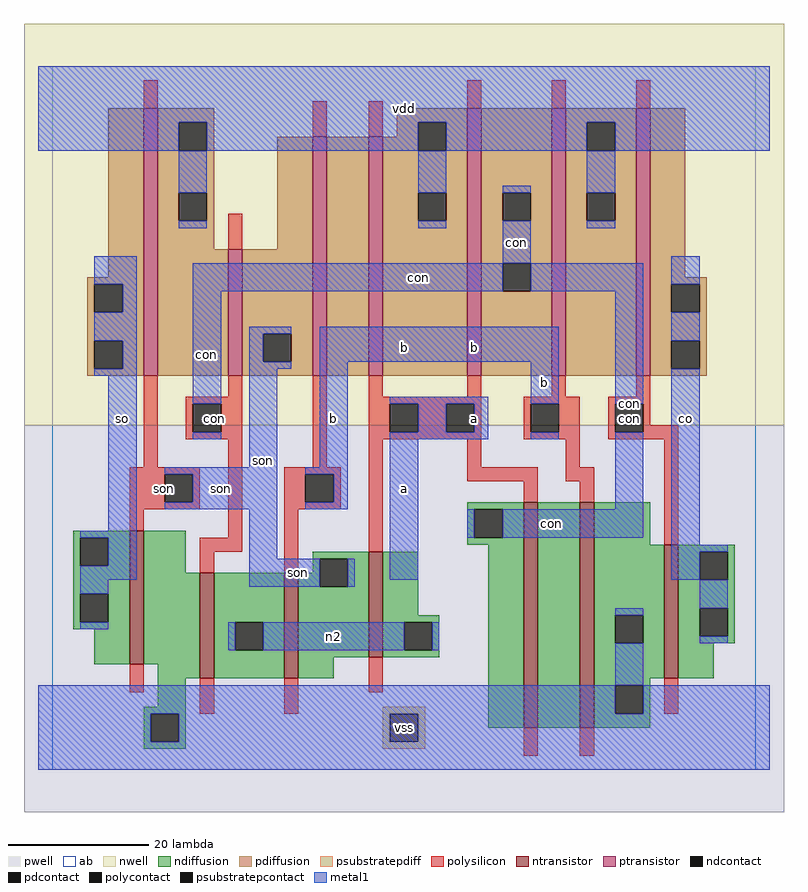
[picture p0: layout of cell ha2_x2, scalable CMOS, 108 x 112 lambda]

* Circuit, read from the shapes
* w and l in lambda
.subckt ha2_x2 a b co con n2 so son vdd vss
M1 vss son so vss nfet w=19 l=2
M2 n2 con vss vss nfet w=15 l=2
M3 son b n2 vss nfet w=15 l=2
M4 n2 a son vss nfet w=15 l=2
M5 n1 a con vss nfet w=32 l=2
M6 vss b n1 vss nfet w=32 l=2
M7 co con vss vss nfet w=19 l=2
M8 vdd son so n3 pfet w=38 l=2
M9 son con vdd n3 pfet w=18 l=2
M10 n4 b son n3 pfet w=34 l=2
M11 vdd a n4 n3 pfet w=34 l=2
M12 con a vdd n3 pfet w=38 l=2
M13 vdd b con n3 pfet w=38 l=2
M14 co con vdd n3 pfet w=38 l=2
.ends

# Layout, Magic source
magic
tech scmos
<< ab >>
rect 0 0 100 100
<< pwell >>
rect -4 -6 104 49
<< nwell >>
rect -4 49 104 106
<< polysilicon >>
rect 13 94 15 98
rect 37 90 39 95
rect 45 90 47 95
rect 59 94 61 98
rect 71 94 73 98
rect 83 94 85 98
rect 25 74 27 79
rect 13 43 15 56
rect 25 53 27 56
rect 19 52 27 53
rect 19 48 20 52
rect 24 48 27 52
rect 19 47 27 48
rect 11 42 21 43
rect 11 38 16 42
rect 20 38 21 42
rect 11 37 21 38
rect 11 34 13 37
rect 25 33 27 47
rect 37 43 39 56
rect 45 53 47 56
rect 59 53 61 56
rect 71 53 73 56
rect 83 53 85 56
rect 45 52 61 53
rect 45 48 48 52
rect 52 48 56 52
rect 60 48 61 52
rect 45 47 61 48
rect 67 52 75 53
rect 67 48 68 52
rect 72 48 75 52
rect 67 47 75 48
rect 79 52 85 53
rect 79 48 80 52
rect 84 49 85 52
rect 84 48 89 49
rect 79 47 89 48
rect 21 31 27 33
rect 33 42 41 43
rect 33 38 36 42
rect 40 38 41 42
rect 33 37 41 38
rect 21 28 23 31
rect 33 28 35 37
rect 45 31 47 47
rect 59 43 61 47
rect 73 43 75 47
rect 59 41 69 43
rect 73 41 77 43
rect 67 38 69 41
rect 75 38 77 41
rect 11 11 13 15
rect 21 8 23 13
rect 33 8 35 13
rect 45 11 47 16
rect 87 32 89 47
rect 87 8 89 13
rect 67 2 69 6
rect 75 2 77 6
<< ndiffusion >>
rect 3 33 11 34
rect 3 29 4 33
rect 8 29 11 33
rect 3 25 11 29
rect 3 21 4 25
rect 8 21 11 25
rect 3 20 11 21
rect 6 15 11 20
rect 13 28 19 34
rect 59 37 67 38
rect 59 33 60 37
rect 64 33 67 37
rect 59 32 67 33
rect 37 30 45 31
rect 37 28 38 30
rect 13 15 21 28
rect 15 13 21 15
rect 23 21 33 28
rect 23 17 26 21
rect 30 17 33 21
rect 23 13 33 17
rect 35 26 38 28
rect 42 26 45 30
rect 35 16 45 26
rect 47 22 52 31
rect 47 21 55 22
rect 47 17 50 21
rect 54 17 55 21
rect 47 16 55 17
rect 35 13 40 16
rect 15 9 19 13
rect 13 8 19 9
rect 13 4 14 8
rect 18 4 19 8
rect 13 3 19 4
rect 62 6 67 32
rect 69 6 75 38
rect 77 32 85 38
rect 77 22 87 32
rect 77 18 80 22
rect 84 18 87 22
rect 77 13 87 18
rect 89 31 97 32
rect 89 27 92 31
rect 96 27 97 31
rect 89 23 97 27
rect 89 19 92 23
rect 96 19 97 23
rect 89 18 97 19
rect 89 13 94 18
rect 77 12 85 13
rect 77 8 80 12
rect 84 8 85 12
rect 77 6 85 8
<< pdiffusion >>
rect 8 70 13 94
rect 5 69 13 70
rect 5 65 6 69
rect 10 65 13 69
rect 5 61 13 65
rect 5 57 6 61
rect 10 57 13 61
rect 5 56 13 57
rect 15 92 23 94
rect 15 88 18 92
rect 22 88 23 92
rect 49 92 59 94
rect 49 90 52 92
rect 15 82 23 88
rect 15 78 18 82
rect 22 78 23 82
rect 15 74 23 78
rect 32 74 37 90
rect 15 56 25 74
rect 27 62 37 74
rect 27 58 30 62
rect 34 58 37 62
rect 27 56 37 58
rect 39 56 45 90
rect 47 88 52 90
rect 56 88 59 92
rect 47 82 59 88
rect 47 78 52 82
rect 56 78 59 82
rect 47 56 59 78
rect 61 82 71 94
rect 61 78 64 82
rect 68 78 71 82
rect 61 72 71 78
rect 61 68 64 72
rect 68 68 71 72
rect 61 56 71 68
rect 73 92 83 94
rect 73 88 76 92
rect 80 88 83 92
rect 73 82 83 88
rect 73 78 76 82
rect 80 78 83 82
rect 73 56 83 78
rect 85 70 90 94
rect 85 69 93 70
rect 85 65 88 69
rect 92 65 93 69
rect 85 61 93 65
rect 85 57 88 61
rect 92 57 93 61
rect 85 56 93 57
<< metal1 >>
rect -2 92 102 100
rect -2 88 18 92
rect 22 88 52 92
rect 56 88 76 92
rect 80 88 102 92
rect 18 82 22 88
rect 18 77 22 78
rect 52 82 56 88
rect 52 77 56 78
rect 64 82 68 83
rect 6 69 12 73
rect 64 72 68 78
rect 76 82 80 88
rect 76 77 80 78
rect 10 65 12 69
rect 6 61 12 65
rect 10 57 12 61
rect 6 56 12 57
rect 8 34 12 56
rect 20 68 64 72
rect 68 68 84 72
rect 20 52 24 68
rect 20 47 24 48
rect 28 62 34 63
rect 28 58 30 62
rect 28 57 34 58
rect 38 58 72 63
rect 28 43 32 57
rect 38 43 42 58
rect 16 42 32 43
rect 20 38 32 42
rect 16 37 32 38
rect 36 42 42 43
rect 40 38 42 42
rect 36 37 42 38
rect 48 52 62 53
rect 52 48 56 52
rect 60 48 62 52
rect 48 47 62 48
rect 68 52 72 58
rect 68 47 72 48
rect 80 52 84 68
rect 4 33 12 34
rect 8 29 12 33
rect 4 27 12 29
rect 28 30 32 37
rect 4 25 8 27
rect 28 26 38 30
rect 42 26 43 30
rect 48 27 52 47
rect 80 37 84 48
rect 59 33 60 37
rect 64 33 84 37
rect 88 69 92 73
rect 88 61 92 65
rect 88 32 92 57
rect 88 31 96 32
rect 88 27 92 31
rect 92 23 96 27
rect 80 22 84 23
rect 4 20 8 21
rect 25 17 26 21
rect 30 17 50 21
rect 54 17 55 21
rect 92 18 96 19
rect 80 12 84 18
rect -2 8 80 12
rect 84 8 102 12
rect -2 4 14 8
rect 18 4 102 8
rect -2 0 102 4
<< ntransistor >>
rect 11 15 13 34
rect 21 13 23 28
rect 33 13 35 28
rect 45 16 47 31
rect 67 6 69 38
rect 75 6 77 38
rect 87 13 89 32
<< ptransistor >>
rect 13 56 15 94
rect 25 56 27 74
rect 37 56 39 90
rect 45 56 47 90
rect 59 56 61 94
rect 71 56 73 94
rect 83 56 85 94
<< polycontact >>
rect 20 48 24 52
rect 16 38 20 42
rect 48 48 52 52
rect 56 48 60 52
rect 68 48 72 52
rect 80 48 84 52
rect 36 38 40 42
<< ndcontact >>
rect 4 29 8 33
rect 4 21 8 25
rect 60 33 64 37
rect 26 17 30 21
rect 38 26 42 30
rect 50 17 54 21
rect 14 4 18 8
rect 80 18 84 22
rect 92 27 96 31
rect 92 19 96 23
rect 80 8 84 12
<< pdcontact >>
rect 6 65 10 69
rect 6 57 10 61
rect 18 88 22 92
rect 18 78 22 82
rect 30 58 34 62
rect 52 88 56 92
rect 52 78 56 82
rect 64 78 68 82
rect 64 68 68 72
rect 76 88 80 92
rect 76 78 80 82
rect 88 65 92 69
rect 88 57 92 61
<< psubstratepcontact >>
rect 48 4 52 8
<< psubstratepdiff >>
rect 47 8 53 9
rect 47 4 48 8
rect 52 4 53 8
rect 47 3 53 4
<< labels >>
rlabel polysilicon 16 40 16 40 6 son
rlabel polycontact 23 50 23 50 6 con
rlabel polycontact 82 50 82 50 6 con
rlabel metal1 10 50 10 50 6 so
rlabel metal1 10 50 10 50 6 so
rlabel metal1 24 40 24 40 6 son
rlabel metal1 22 59 22 59 6 con
rlabel metal1 30 44 30 44 6 son
rlabel metal1 50 6 50 6 6 vss
rlabel metal1 50 6 50 6 6 vss
rlabel metal1 40 19 40 19 6 n2
rlabel metal1 35 28 35 28 6 son
rlabel metal1 50 40 50 40 6 a
rlabel metal1 50 40 50 40 6 a
rlabel metal1 40 50 40 50 6 b
rlabel metal1 40 50 40 50 6 b
rlabel metal1 50 60 50 60 6 b
rlabel metal1 50 60 50 60 6 b
rlabel metal1 50 94 50 94 6 vdd
rlabel metal1 50 94 50 94 6 vdd
rlabel metal1 60 50 60 50 6 a
rlabel metal1 60 50 60 50 6 a
rlabel metal1 70 55 70 55 6 b
rlabel metal1 70 55 70 55 6 b
rlabel metal1 60 60 60 60 6 b
rlabel metal1 60 60 60 60 6 b
rlabel metal1 66 75 66 75 6 con
rlabel metal1 71 35 71 35 6 con
rlabel metal1 90 50 90 50 6 co
rlabel metal1 90 50 90 50 6 co
rlabel metal1 82 52 82 52 6 con
rlabel metal1 52 70 52 70 6 con
<< end >>
